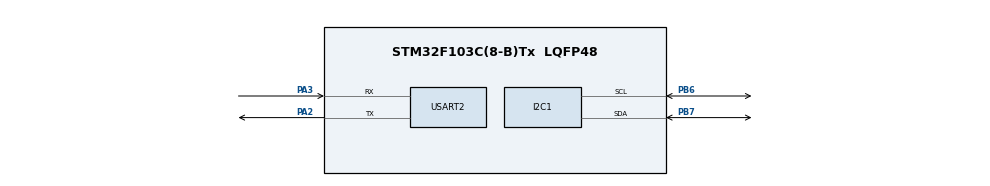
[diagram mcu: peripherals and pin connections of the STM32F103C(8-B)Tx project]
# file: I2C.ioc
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Dma.I2C1_RX.0.Direction=DMA_PERIPH_TO_MEMORY
Dma.I2C1_RX.0.Instance=DMA1_Channel7
Dma.I2C1_RX.0.MemDataAlignment=DMA_MDATAALIGN_BYTE
Dma.I2C1_RX.0.MemInc=DMA_MINC_ENABLE
Dma.I2C1_RX.0.Mode=DMA_NORMAL
Dma.I2C1_RX.0.PeriphDataAlignment=DMA_PDATAALIGN_BYTE
Dma.I2C1_RX.0.PeriphInc=DMA_PINC_DISABLE
Dma.I2C1_RX.0.Priority=DMA_PRIORITY_LOW
Dma.I2C1_TX.1.Direction=DMA_MEMORY_TO_PERIPH
Dma.I2C1_TX.1.Instance=DMA1_Channel6
Dma.I2C1_TX.1.MemDataAlignment=DMA_MDATAALIGN_BYTE
Dma.I2C1_TX.1.MemInc=DMA_MINC_ENABLE
Dma.I2C1_TX.1.Mode=DMA_NORMAL
Dma.I2C1_TX.1.PeriphDataAlignment=DMA_PDATAALIGN_BYTE
Dma.I2C1_TX.1.PeriphInc=DMA_PINC_DISABLE
Dma.I2C1_TX.1.Priority=DMA_PRIORITY_LOW
Dma.Request0=I2C1_RX
Dma.Request1=I2C1_TX
Mcu.Family=STM32F1
Mcu.Name=STM32F103C(8-B)Tx
Mcu.Package=LQFP48
NVIC.DMA1_Channel6_IRQn=true\:0\:0\:false\:false\:true\:false\:true\:true
NVIC.DMA1_Channel7_IRQn=true\:0\:0\:false\:false\:true\:false\:true\:true
NVIC.I2C1_ER_IRQn=true\:0\:0\:false\:false\:true\:true\:true\:true
NVIC.I2C1_EV_IRQn=true\:0\:0\:false\:false\:true\:true\:true\:true
NVIC.PriorityGroup=NVIC_PRIORITYGROUP_4
PA13.Mode=Serial_Wire
PA13.Signal=SYS_JTMS-SWDIO
PA14.Mode=Serial_Wire
PA14.Signal=SYS_JTCK-SWCLK
PA2.Mode=Asynchronous
PA2.Signal=USART2_TX
PA3.Mode=Asynchronous
PA3.Signal=USART2_RX
PB6.Mode=I2C
PB6.Signal=I2C1_SCL
PB7.Mode=I2C
PB7.Signal=I2C1_SDA
ProjectManager.HeapSize=0x200
ProjectManager.StackSize=0x400
ProjectManager.TargetToolchain=STM32CubeIDE
RCC.APB1Freq_Value=8000000
RCC.APB2Freq_Value=8000000
USART2.VirtualMode=VM_ASYNC
board=custom

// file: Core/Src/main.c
/* USER CODE BEGIN Header */
/**
  ******************************************************************************
  * @file           : main.c
  * @brief          : Main program body
  ******************************************************************************
  * @attention
  *
  * Copyright (c) 2025 STMicroelectronics.
  * All rights reserved.
  *
  * This software is licensed under terms that can be found in the LICENSE file
  * in the root directory of this software component.
  * If no LICENSE file comes with this software, it is provided AS-IS.
  *
  ******************************************************************************
  */
/* USER CODE END Header */
#include "main.h"
#include "dma.h"
#include "i2c.h"
#include "usart.h"
#include "gpio.h"

/* USER CODE BEGIN Includes */
#include "aht20.h"
#include <stdio.h>
#include <string.h>
/* USER CODE END Includes */

/* USER CODE BEGIN PV */
// 初始0, 发送1, 发送完成2, 读取中3, 读取完成4
uint8_t state = 0;
/* USER CODE END PV */

void SystemClock_Config(void);

int main(void)
{

  /* MCU Configuration--------------------------------------------------------*/

  /* Reset of all peripherals, Initializes the Flash interface and the Systick. */
  HAL_Init();

  /* Configure the system clock */
  SystemClock_Config();

  /* Initialize all configured peripherals */
  MX_GPIO_Init();
  MX_DMA_Init();
  MX_I2C1_Init();
  MX_USART2_UART_Init();
  /* USER CODE BEGIN 2 */
  AHT20_Init();

  float temperature, humidity;
  char message[50];
  /* USER CODE END 2 */

  /* Infinite loop */
  /* USER CODE BEGIN WHILE */
  while (1)
  {
	  if(state == 0){
		  AHT20_Measure();
		  state = 1;
	  }else if(state == 2){
		  HAL_Delay(75);
		  AHT20_Get();
		  state = 3;
	  }else if(state == 4){
		  AHT20_Analysis(&temperature, &humidity);
		  sprintf(message, "温度: %.1f ℃, 湿度: %.1f %% \r\n",temperature, humidity);
		  HAL_UART_Transmit(&huart2, (uint8_t*)message, strlen(message), HAL_MAX_DELAY);

		  HAL_Delay(1000);
		  state = 0;
	  }
    /* USER CODE END WHILE */

  }
}

void SystemClock_Config(void)
{
  RCC_OscInitTypeDef RCC_OscInitStruct = {0};
  RCC_ClkInitTypeDef RCC_ClkInitStruct = {0};

  /** Initializes the RCC Oscillators according to the specified parameters
  * in the RCC_OscInitTypeDef structure.
  */
  RCC_OscInitStruct.OscillatorType = RCC_OSCILLATORTYPE_HSI;
  RCC_OscInitStruct.HSIState = RCC_HSI_ON;
  RCC_OscInitStruct.HSICalibrationValue = RCC_HSICALIBRATION_DEFAULT;
  RCC_OscInitStruct.PLL.PLLState = RCC_PLL_NONE;
  if (HAL_RCC_OscConfig(&RCC_OscInitStruct) != HAL_OK)
  {
    Error_Handler();
  }

  /** Initializes the CPU, AHB and APB buses clocks
  */
  RCC_ClkInitStruct.ClockType = RCC_CLOCKTYPE_HCLK|RCC_CLOCKTYPE_SYSCLK
                              |RCC_CLOCKTYPE_PCLK1|RCC_CLOCKTYPE_PCLK2;
  RCC_ClkInitStruct.SYSCLKSource = RCC_SYSCLKSOURCE_HSI;
  RCC_ClkInitStruct.AHBCLKDivider = RCC_SYSCLK_DIV1;
  RCC_ClkInitStruct.APB1CLKDivider = RCC_HCLK_DIV1;
  RCC_ClkInitStruct.APB2CLKDivider = RCC_HCLK_DIV1;

  if (HAL_RCC_ClockConfig(&RCC_ClkInitStruct, FLASH_LATENCY_0) != HAL_OK)
  {
    Error_Handler();
  }
}

void Error_Handler(void)
{
  __disable_irq();
  while (1)
  {
  }
}
